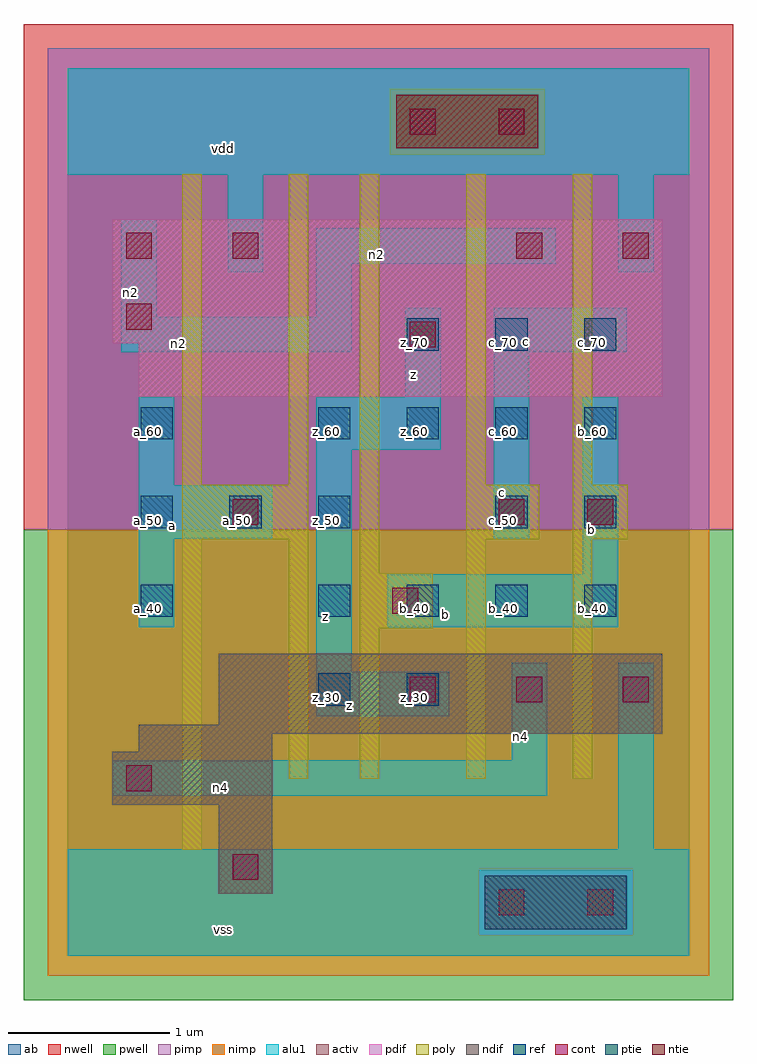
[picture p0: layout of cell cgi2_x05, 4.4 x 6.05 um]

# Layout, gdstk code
import gdstk
lib = gdstk.Library(unit=1e-6, precision=2.5e-09)
def R(c, l, rs):  # rectangles x0, y0, x1, y1
    for r in rs: c.add(gdstk.rectangle(r[:2], r[2:], *l))
def A(c, l, x, y, w, h, nx, ny, dx, dy):  # array of equal rectangles
    R(c, l, [(x+i*dx, y+j*dy, x+i*dx+w, y+j*dy+h) for i in range(nx) for j in range(ny)])
ndif = (3, 0)
pdif = (4, 0)
ntie = (5, 0)
ptie = (6, 0)
ref = (24, 0)
cont = (25, 0)
pwell = (41, 0)
nwell = (42, 0)
activ = (43, 0)
pimp = (44, 0)
nimp = (45, 0)
poly = (46, 0)
alu1 = (49, 0)
ab = (63, 0)

cgi2_x05 = lib.new_cell('cgi2_x05')
R(cgi2_x05, ndif, [(0.935,0.385,1.265,0.935), (0.275,0.935,1.265,1.265), (0.44,1.265,1.265,1.375), (0.44,1.375,3.685,1.43), (0.935,1.43,3.685,1.87)])
R(cgi2_x05, pdif, [(0.44,3.465,3.685,3.795), (0.275,3.795,3.685,4.565)])
R(cgi2_x05, ntie, [(2.035,5.005,2.915,5.335)])
R(cgi2_x05, ptie, [(2.585,0.165,3.465,0.495)])
A(cgi2_x05, ref, 1.55, 2.1, 0.2, 0.2, 4, 2, 0.55, 1.1)
A(cgi2_x05, ref, 0.45, 2.65, 0.2, 0.2, 3, 1, 0.55, 0)
A(cgi2_x05, ref, 2.1, 3.75, 0.2, 0.2, 3, 1, 0.55, 0)
R(cgi2_x05, ref, [(1.55,1.55,1.75,1.75), (2.1,1.55,2.3,1.75), (0.45,2.1,0.65,2.3), (2.65,2.65,2.85,2.85), (3.2,2.65,3.4,2.85), (0.45,3.2,0.65,3.4)])
A(cgi2_x05, cont, 2.67, 0.25, 0.16, 0.16, 1, 3, 0, 2.42)
A(cgi2_x05, cont, 2.12, 1.57, 0.16, 0.16, 3, 1, 0.66, 0)
R(cgi2_x05, cont, [(3.22,0.25,3.38,0.41), (1.02,0.47,1.18,0.63), (0.36,1.02,0.52,1.18), (2.01,2.12,2.17,2.28), (1.02,2.67,1.18,2.83), (3.22,2.67,3.38,2.83), (2.12,3.77,2.28,3.93), (0.36,3.88,0.52,4.04), (0.36,4.32,0.52,4.48), (1.02,4.32,1.18,4.48), (2.78,4.32,2.94,4.48), (3.44,4.32,3.6,4.48), (2.12,5.09,2.28,5.25)])
R(cgi2_x05, pwell, [(-0.275,-0.275,4.125,2.64)])
R(cgi2_x05, nwell, [(-0.275,2.64,4.125,5.775)])
R(cgi2_x05, activ, [(2.585,0.165,3.465,0.495), (0.935,0.385,1.265,0.935), (0.275,0.935,1.265,1.265), (0.44,1.265,1.265,1.375), (0.44,1.375,3.685,1.43), (0.935,1.43,3.685,1.87), (0.44,3.465,3.685,3.795), (0.275,3.795,3.685,4.565), (2.035,5.005,2.915,5.335)])
R(cgi2_x05, pimp, [(2.545,0.125,3.505,0.535), (-0.125,2.64,3.975,4.965), (-0.125,4.965,1.995,5.375), (2.955,4.965,3.975,5.375), (-0.125,5.375,3.975,5.625)])
R(cgi2_x05, nimp, [(-0.125,-0.125,3.975,0.125), (-0.125,0.125,2.545,0.535), (3.505,0.125,3.975,0.535), (-0.125,0.535,3.975,2.64), (1.995,4.965,2.955,5.375)])
R(cgi2_x05, poly, [(0.71,0.655,0.83,2.58), (1.37,1.095,1.49,2.58), (1.81,1.095,1.93,2.03), (2.47,1.095,2.59,2.58), (3.13,1.095,3.25,2.58), (1.81,2.03,2.26,2.37), (1.81,2.37,1.93,4.845), (0.71,2.58,1.49,2.92), (2.47,2.58,2.92,2.92), (3.13,2.58,3.47,2.92), (0.71,2.92,0.83,4.845), (1.37,2.92,1.49,4.845), (2.47,2.92,2.59,4.845), (3.13,2.92,3.25,4.845)])
R(cgi2_x05, alu1, [(0,0,3.85,0.66), (3.41,0.66,3.63,1.815), (0.275,0.99,2.97,1.21), (2.75,1.21,2.97,1.815), (1.54,1.485,2.365,1.76), (1.54,1.76,1.76,3.135), (0.44,2.035,0.66,2.585), (1.98,2.035,3.41,2.365), (3.19,2.365,3.41,3.465), (0.44,2.585,1.265,2.915), (2.64,2.585,2.86,3.74), (0.44,2.915,0.66,3.465), (1.54,3.135,2.31,3.465), (2.09,3.465,2.31,4.015), (0.33,3.74,1.76,3.96), (2.64,3.74,3.465,4.015), (0.33,3.96,0.55,4.565), (1.54,3.96,1.76,4.29), (0.99,4.235,1.21,4.84), (3.41,4.235,3.63,4.84), (1.54,4.29,3.025,4.51), (0,4.84,3.85,5.5)])
R(cgi2_x05, ab, [(0,0,3.85,5.5)])
cgi2_x05.add(gdstk.Label('vss', (0.9625,0.165), layer=49, texttype=0))
cgi2_x05.add(gdstk.Label('n4', (0.9475,1.045), layer=49, texttype=0))
cgi2_x05.add(gdstk.Label('n4', (2.805,1.36), layer=49, texttype=0))
cgi2_x05.add(gdstk.Label('z', (1.745,1.5525), layer=49, texttype=0))
cgi2_x05.add(gdstk.Label('b', (2.3375,2.1175), layer=49, texttype=0))
cgi2_x05.add(gdstk.Label('b', (3.245,2.64), layer=49, texttype=0))
cgi2_x05.add(gdstk.Label('c', (2.695,2.8725), layer=49, texttype=0))
cgi2_x05.add(gdstk.Label('z', (1.595,2.1025), layer=49, texttype=0))
cgi2_x05.add(gdstk.Label('a', (0.645,2.6675), layer=49, texttype=0))
cgi2_x05.add(gdstk.Label('c', (2.845,3.8075), layer=49, texttype=0))
cgi2_x05.add(gdstk.Label('z', (2.145,3.6025), layer=49, texttype=0))
cgi2_x05.add(gdstk.Label('n2', (0.6875,3.795), layer=49, texttype=0))
cgi2_x05.add(gdstk.Label('n2', (1.91,4.345), layer=49, texttype=0))
cgi2_x05.add(gdstk.Label('n2', (0.385,4.11), layer=49, texttype=0))
cgi2_x05.add(gdstk.Label('vdd', (0.9625,5.005), layer=49, texttype=0))
cgi2_x05.add(gdstk.Label('a_40', (0.5,2.15), layer=24, texttype=0))
cgi2_x05.add(gdstk.Label('c_50', (2.7,2.7), layer=24, texttype=0))
cgi2_x05.add(gdstk.Label('b_50', (3.25,2.7), layer=24, texttype=0))
cgi2_x05.add(gdstk.Label('b_40', (2.15,2.15), layer=24, texttype=0))
cgi2_x05.add(gdstk.Label('a_50', (1.05,2.7), layer=24, texttype=0))
cgi2_x05.add(gdstk.Label('z_70', (2.15,3.8), layer=24, texttype=0))
cgi2_x05.add(gdstk.Label('z_30', (2.15,1.6), layer=24, texttype=0))
cgi2_x05.add(gdstk.Label('z_40', (1.6,2.15), layer=24, texttype=0))
cgi2_x05.add(gdstk.Label('z_50', (1.6,2.7), layer=24, texttype=0))
cgi2_x05.add(gdstk.Label('z_60', (1.6,3.25), layer=24, texttype=0))
cgi2_x05.add(gdstk.Label('b_60', (3.25,3.25), layer=24, texttype=0))
cgi2_x05.add(gdstk.Label('a_50', (0.5,2.7), layer=24, texttype=0))
cgi2_x05.add(gdstk.Label('a_60', (0.5,3.25), layer=24, texttype=0))
cgi2_x05.add(gdstk.Label('z_30', (1.6,1.6), layer=24, texttype=0))
cgi2_x05.add(gdstk.Label('c_60', (2.7,3.25), layer=24, texttype=0))
cgi2_x05.add(gdstk.Label('c_70', (2.7,3.8), layer=24, texttype=0))
cgi2_x05.add(gdstk.Label('c_70', (3.25,3.8), layer=24, texttype=0))
cgi2_x05.add(gdstk.Label('b_40', (2.7,2.15), layer=24, texttype=0))
cgi2_x05.add(gdstk.Label('b_40', (3.25,2.15), layer=24, texttype=0))
cgi2_x05.add(gdstk.Label('z_60', (2.15,3.25), layer=24, texttype=0))

lib.write_gds('cgi2_x05.gds')
